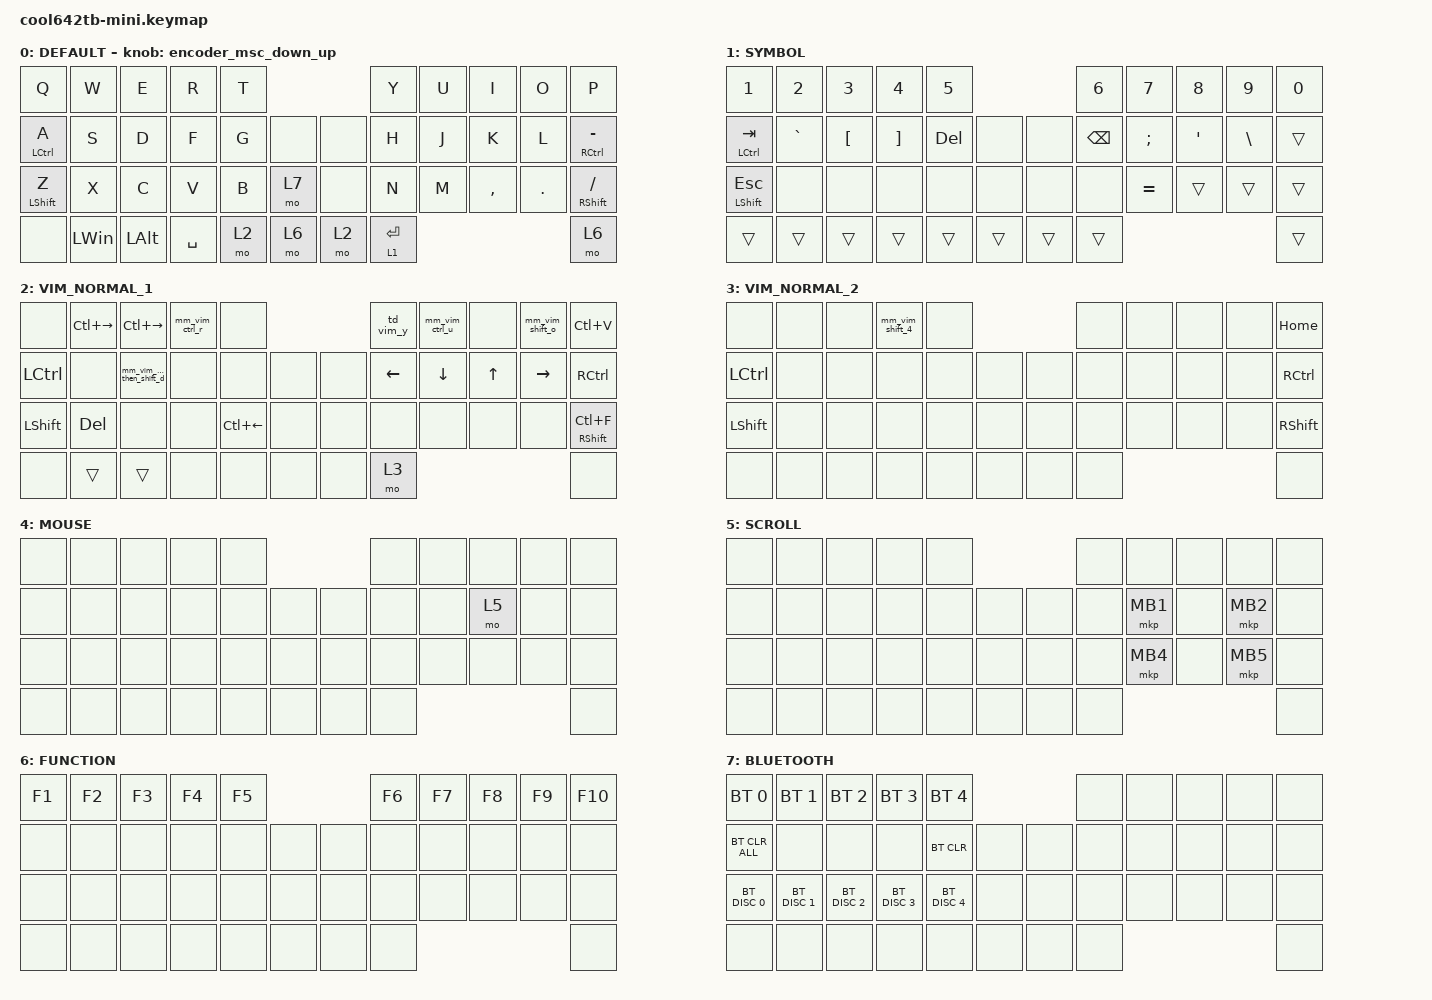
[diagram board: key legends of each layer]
#include <input/processors.dtsi>
#include <behaviors.dtsi>
#include <dt-bindings/zmk/bt.h>
#include <dt-bindings/zmk/keys.h>
#include <dt-bindings/zmk/pointing.h>

#define MOUSE 4
#define SCROLL 5
#define NUM 6
#define ZMK_POINTING_DEFAULT_SCRL_VAL 80

&mt {
    quick-tap-ms = <150>;
    tapping-term-ms = <150>;
    flavor = "tap-preferred";
};

&lt {
    tapping-term-ms = <150>;
    quick-tap-ms = <150>;
};

&mkp_input_listener { input-processors = <&zip_temp_layer 4 10000>; };

/ {
    combos { compatible = "zmk,combos"; };

    behaviors {
        encoder_msc_down_up: encoder_msc_down_up {
            compatible = "zmk,behavior-sensor-rotate";
            label = "ENCODER_MSC_DOWN_UP";
            #sensor-binding-cells = <0>;
            bindings = <&msc SCRL_UP>, <&msc SCRL_DOWN>;

            tap-ms = <20>;
        };

        td_vim_d: td_vim_d {
            compatible = "zmk,behavior-tap-dance";
            label = "TD_VIM_D";
            #binding-cells = <0>;
            bindings = <&kp LC(X)>, <&macro_vim_dd>;
        };

        mm_vim_shift_d: mm_vim_shift_d {
            compatible = "zmk,behavior-mod-morph";
            label = "MM_VIM_SHIFT_D";
            bindings = <&td_vim_d>, <&macro_vim_shift_d>;

            #binding-cells = <0>;
            mods = <(MOD_LSFT|MOD_RSFT)>;
        };

        td_vim_y: td_vim_y {
            compatible = "zmk,behavior-tap-dance";
            label = "TD_VIM_Y";
            #binding-cells = <0>;
            bindings = <&kp LC(C)>, <&macro_vim_yy>;
        };

        mm_vim_ctrl_u: mm_vim_ctrl_u {
            compatible = "zmk,behavior-mod-morph";
            label = "MM_VIM_CTRL_U";
            bindings = <&kp LC(Z)>, <&kp PAGE_UP>;

            #binding-cells = <0>;
            mods = <(MOD_LCTL|MOD_RCTL)>;
        };

        mm_vim_shift_o: mm_vim_shift_o {
            compatible = "zmk,behavior-mod-morph";
            label = "MM_VIM_SHIFT_O";
            bindings = <&macro_vim_o>, <&macro_vim_shift_o>;

            #binding-cells = <0>;
            mods = <(MOD_LSFT|MOD_RSFT)>;
        };

        mm_vim_ctrl_then_shift_d: mm_vim_ctrl_then_shift_d {
            compatible = "zmk,behavior-mod-morph";
            label = "MM_VIM_CTRL_THEN_SHIFT_D";
            bindings = <&mm_vim_shift_d>, <&kp PAGE_DOWN>;

            #binding-cells = <0>;
            mods = <(MOD_LCTL|MOD_RCTL)>;
        };

        mm_vim_shift_4: mm_vim_shift_4 {
            compatible = "zmk,behavior-mod-morph";
            label = "MM_VIM_SHIFT_4";
            bindings = <&none>, <&kp END>;

            #binding-cells = <0>;
            mods = <(MOD_LSFT|MOD_RSFT)>;
        };

        mm_vim_ctrl_r: mm_vim_ctrl_r {
            compatible = "zmk,behavior-mod-morph";
            label = "MM_VIM_CTRL_R";
            bindings = <&none>, <&kp LC(Y)>;

            #binding-cells = <0>;
            mods = <(MOD_LCTL|MOD_RCTL)>;
        };
    };

    macros {
        macro_vim_dd: macro_delete_line {
            compatible = "zmk,behavior-macro";
            #binding-cells = <0>;
            bindings =
                <&kp HOME>,
                <&macro_wait_time 100>,
                <&kp LS(END)>,
                <&macro_wait_time 100>,
                <&kp LC(X)>;

            label = "MACRO_DELETE_LINE";
        };

        macro_vim_yy: macro_yank_line {
            compatible = "zmk,behavior-macro";
            #binding-cells = <0>;
            bindings =
                <&kp HOME>,
                <&macro_wait_time 100>,
                <&kp LS(END)>,
                <&macro_wait_time 100>,
                <&kp LC(C)>;

            label = "MACRO_YANK_LINE";
        };

        macro_vim_shift_d: macro_vim_shift_d {
            compatible = "zmk,behavior-macro";
            #binding-cells = <0>;
            bindings = <&kp LS(END)>, <&macro_wait_time 100>, <&kp LC(X)>;

            label = "MACRO_VIM_SHIFT_D";
        };

        macro_vim_o: macro_vim_o {
            compatible = "zmk,behavior-macro";
            #binding-cells = <0>;
            bindings = <&kp END>, <&macro_wait_time 100>, <&kp ENTER>;

            label = "MACRO_VIM_O";
        };

        macro_vim_shift_o: macro_vim_shift_o {
            compatible = "zmk,behavior-macro";
            #binding-cells = <0>;
            bindings =
                <&kp HOME>,
                <&macro_wait_time 100>,
                <&kp ENTER>,
                <&macro_wait_time 100>,
                <&kp UP_ARROW>;

            label = "MACRO_VIM_SHIFT_O";
        };
    };

    keymap {
        compatible = "zmk,keymap";

        DEFAULT {
            bindings = <
&kp Q               &kp W         &kp E         &kp R      &kp T                    &kp Y        &kp U  &kp I      &kp O    &kp P
&mt LEFT_CONTROL A  &kp S         &kp D         &kp F      &kp G  &none      &none  &kp H        &kp J  &kp K      &kp L    &mt RCTRL MINUS
&mt LEFT_SHIFT Z    &kp X         &kp C         &kp V      &kp B  &mo 7      &none  &kp N        &kp M  &kp COMMA  &kp DOT  &mt RIGHT_SHIFT SLASH
&none               &kp LEFT_WIN  &kp LEFT_ALT  &kp SPACE  &mo 2  &mo 6      &mo 2  &lt 1 ENTER                             &mo 6
            >;

            sensor-bindings = <&encoder_msc_down_up>;
        };

        SYMBOL {
            bindings = <
&kp N1                 &kp N2     &kp N3            &kp N4             &kp N5                          &kp N6         &kp N7         &kp N8            &kp N9         &kp N0
&mt LCTRL TAB          &kp GRAVE  &kp LEFT_BRACKET  &kp RIGHT_BRACKET  &kp DELETE  &none       &none   &kp BACKSPACE  &kp SEMICOLON  &kp SINGLE_QUOTE  &kp BACKSLASH  &trans
&mt LEFT_SHIFT ESCAPE  &none      &none             &none              &none       &none       &none   &none          &kp EQUAL      &trans            &trans         &trans
&trans                 &trans     &trans            &trans             &trans      &trans      &trans  &trans                                                         &trans
            >;
        };

        VIM_NORMAL_1 {
            bindings = <
&none           &kp LC(RIGHT)  &kp LC(RIGHT)              &mm_vim_ctrl_r  &none                           &td_vim_y  &mm_vim_ctrl_u  &none         &mm_vim_shift_o  &kp LC(V)
&kp LCTRL       &none          &mm_vim_ctrl_then_shift_d  &none           &none         &none      &none  &kp LEFT   &kp DOWN        &kp UP_ARROW  &kp RIGHT        &kp RCTRL
&kp LEFT_SHIFT  &kp DELETE     &none                      &none           &kp LC(LEFT)  &none      &none  &none      &none           &none         &none            &mt RIGHT_SHIFT LC(F)
&none           &trans         &trans                     &none           &none         &none      &none  &mo 3                                                     &none
            >;
        };

        VIM_NORMAL_2 {
            bindings = <
&none           &none  &none  &mm_vim_shift_4  &none                    &none  &none  &none  &none  &kp HOME
&kp LCTRL       &none  &none  &none            &none  &none      &none  &none  &none  &none  &none  &kp RCTRL
&kp LEFT_SHIFT  &none  &none  &none            &none  &none      &none  &none  &none  &none  &none  &kp RIGHT_SHIFT
&none           &none  &none  &none            &none  &none      &none  &none                       &none
            >;
        };

        MOUSE {
            bindings = <
&none  &none  &none  &none  &none                    &none  &none  &none  &none  &none
&none  &none  &none  &none  &none  &none      &none  &none  &none  &mo 5  &none  &none
&none  &none  &none  &none  &none  &none      &none  &none  &none  &none  &none  &none
&none  &none  &none  &none  &none  &none      &none  &none                       &none
            >;
        };

        SCROLL {
            bindings = <
&none  &none  &none  &none  &none                    &none  &none     &none  &none     &none
&none  &none  &none  &none  &none  &none      &none  &none  &mkp MB1  &none  &mkp MB2  &none
&none  &none  &none  &none  &none  &none      &none  &none  &mkp MB4  &none  &mkp MB5  &none
&none  &none  &none  &none  &none  &none      &none  &none                             &none
            >;
        };

        FUNCTION {
            bindings = <
&kp F1  &kp F2  &kp F3  &kp F4  &kp F5                    &kp F6  &kp F7  &kp F8  &kp F9  &kp F10
&none   &none   &none   &none   &none   &none      &none  &none   &none   &none   &none   &none
&none   &none   &none   &none   &none   &none      &none  &none   &none   &none   &none   &none
&none   &none   &none   &none   &none   &none      &none  &none                           &none
            >;
        };

        BLUETOOTH {
            bindings = <
&bt BT_SEL 0    &bt BT_SEL 1   &bt BT_SEL 2   &bt BT_SEL 3   &bt BT_SEL 4                     &none  &none  &none  &none  &none
&bt BT_CLR_ALL  &none          &none          &none          &bt BT_CLR     &none      &none  &none  &none  &none  &none  &none
&bt BT_DISC 0   &bt BT_DISC 1  &bt BT_DISC 2  &bt BT_DISC 3  &bt BT_DISC 4  &none      &none  &none  &none  &none  &none  &none
&none           &none          &none          &none          &none          &none      &none  &none                       &none
            >;
        };
    };
};
